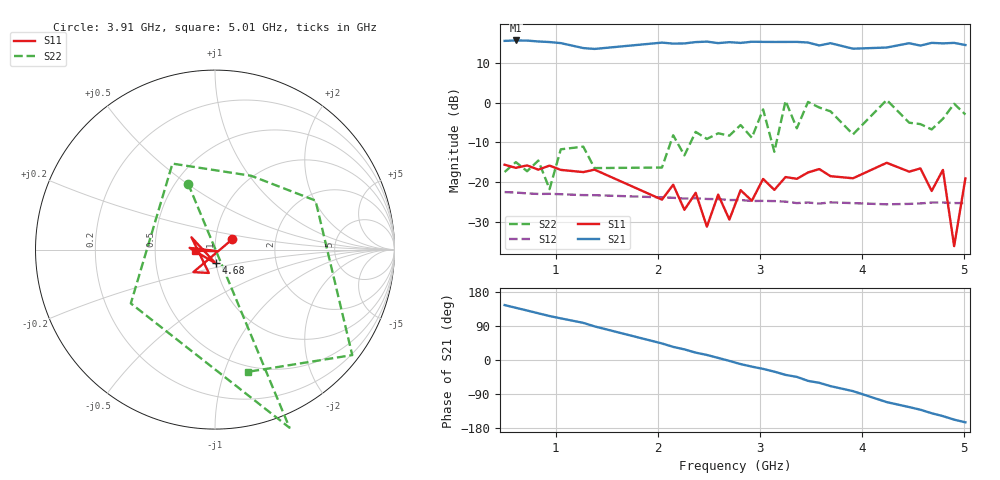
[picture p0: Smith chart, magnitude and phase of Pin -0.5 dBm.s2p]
! RsaToolbox (C) 2015 Rohde & Schwarz America
! Number of points: 32
! Number of ports: 2
! Balanced ports?: No
# Hz S RI R 50
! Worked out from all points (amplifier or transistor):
!   32 points, 500 MHz to 5.01 GHz, reference 50 ohm
!   highest |S21| = 15.6 dB at 610 MHz (marker M1)
!   |S21| within 3 dB of that: start of sweep to end of sweep
!   unconditionally stable (mu >= 1): start of sweep to 3.005 GHz; 3.046 GHz to 3.22 GHz; 4.352 GHz to 4.815 GHz (the widest 3 of 6)
!   at 1.05 GHz: K = 1.37, MAG = 15.4 dB, |S12| = -23.1 dB
!   at 2.92 GHz: K = 1.44, MAG = 16.1 dB, |S12| = -24.8 dB
!   at 5.01 GHz: K = 1.06, MAG = 18.4 dB, |S12| = -25.3 dB
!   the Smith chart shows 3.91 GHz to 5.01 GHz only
!   S11 on the Smith chart (normalised r, x): 3.91 GHz: 1.20, +0.14; 4.68 GHz: 1.00, -0.15; 5.01 GHz: 0.80, -0.01
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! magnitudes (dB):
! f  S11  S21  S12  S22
! 500 MHz  -15.7  15.5  -22.6  -17.5
! 610 MHz  -16.5  15.6  -22.7  -15.0
! 940 MHz  -15.9  15.2  -23.0  -21.8
! 1.05 GHz  -17.0  15.0  -23.1  -11.8
! 1.27 GHz  -17.5  13.7  -23.3  -11.1
! 2.04 GHz  -24.5  15.1  -23.9  -16.4
! 2.37 GHz  -22.8  15.2  -24.1  -7.4
! 2.48 GHz  -31.3  15.3  -24.3  -9.2
! 2.81 GHz  -22.1  15.0  -24.6  -5.7
! 2.92 GHz  -24.8  15.3  -24.8  -8.9
! 3.03 GHz  -19.3  15.3  -24.8  -1.7
! 3.14 GHz  -22.0  15.3  -24.8  -12.4
! 3.25 GHz  -18.8  15.3  -25.0  0.4
! 3.36 GHz  -19.2  15.3  -25.3  -6.5
! 3.58 GHz  -16.8  14.4  -25.5  -1.3
! 3.91 GHz  -19.1  13.6  -25.3  -8.0
! 4.24 GHz  -15.2  13.9  -25.6  0.6
! 4.46 GHz  -17.4  14.9  -25.5  -5.1
! 4.68 GHz  -22.3  15.0  -25.2  -6.8
! 4.79 GHz  -17.0  14.9  -25.2  -4.1
! 4.9 GHz  -36.2  15.0  -25.3  -0.3
! 5.01 GHz  -19.1  14.5  -25.3  -3.0
